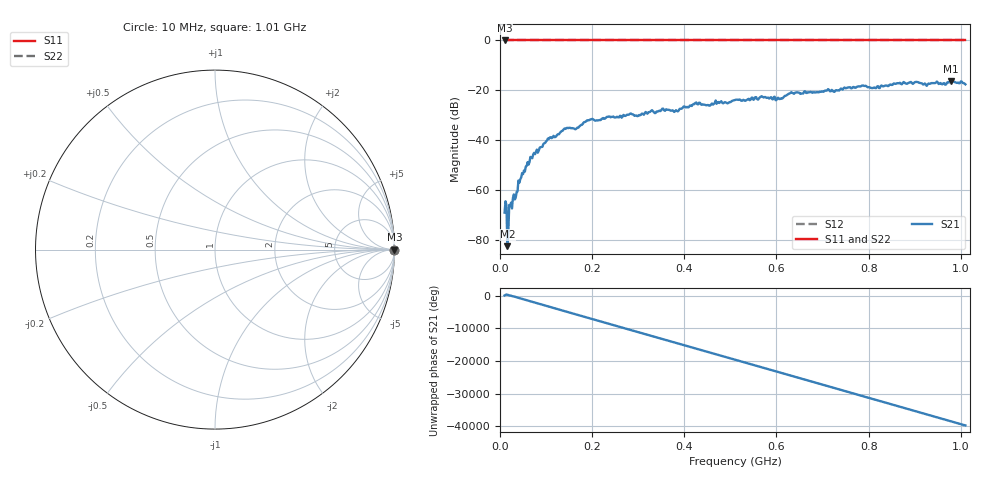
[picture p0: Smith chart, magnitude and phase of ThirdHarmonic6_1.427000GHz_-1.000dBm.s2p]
! 8/16/2025 4:26:27 PM
! C:\ANRITSUVNA\TEMP\TEMP.S2P
! CHANNEL.1
! TR.MEASUREMENT
! RAW.DATA
! RF.CORRECTION.OFF
! AVERAGING.OFF
! IF.BANDWIDTH: 5KHZ
! SWEEPTYPE:  FREQ.SWEEP(Linear)
! Reference Plane Port Info
! PORT:  PORT1  PORT2
! DISTANCE:  0  m  0  m
! TIME:  0  s  0  s
! PHASE.OFFSET:  0  deg.  0  deg.
! LOSS:  0  dB  0  dB
! REF.LOSS:  0  dB  0  dB
! REF.FREQ:  0  Hz  0  Hz
! Power Info
! POWER:  -20  dBm  -20  dBm
! EFF.POWER:  -20  dBm  -20  dBm
! SOURCE.ATTEN:  0  dB  0  dB
! TEST.ATTEN:  0  dB  0  dB
# GHZ S RI R 50.0
! FREQ.GHZ  S11RE  S11IM  S21RE  S21IM  S12RE  S12IM  S22RE  S22IM
!; PortSelection: Port_12
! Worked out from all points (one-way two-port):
!   501 points, 10 MHz to 1.01 GHz, reference 50 ohm
!   highest |S21| = -16.43 dB at 978 MHz (marker M1); lowest = -82.4 dB at 16 MHz (marker M2)
!   lowest |S11| = 0.0 dB at 10 MHz (marker M3)
!   |S11| at or under -10 dB: nowhere
!   |S22| runs from 0.0 to 0.0 dB; largest |S21 - S12| = 1.1
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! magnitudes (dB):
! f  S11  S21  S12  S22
! 10 MHz  0.0  -69.0  0.0  0.0
! 14 MHz  0.0  -66.1  0.0  0.0
! 16 MHz  0.0  -82.4  0.0  0.0
! 20 MHz  0.0  -65.9  0.0  0.0
! 24 MHz  0.0  -65.0  0.0  0.0
! 34 MHz  0.0  -63.1  0.0  0.0
! 44 MHz  0.0  -55.6  0.0  0.0
! 70 MHz  0.0  -47.2  0.0  0.0
! 106 MHz  0.0  -39.5  0.0  0.0
! 142 MHz  0.0  -35.4  0.0  0.0
! 166 MHz  0.0  -35.3  0.0  0.0
! 178 MHz  0.0  -33.8  0.0  0.0
! 198 MHz  0.0  -31.6  0.0  0.0
! 344 MHz  0.0  -28.4  0.0  0.0
! 510 MHz  0.0  -23.9  0.0  0.0
! 570 MHz  0.0  -22.6  0.0  0.0
! 602 MHz  0.0  -23.0  0.0  0.0
! 630 MHz  0.0  -21.1  0.0  0.0
! 678 MHz  0.0  -21.0  0.0  0.0
! 844 MHz  0.0  -18.1  0.0  0.0
! 978 MHz  0.0  -16.4  0.0  0.0
! 1.01 GHz  0.0  -17.6  0.0  0.0
